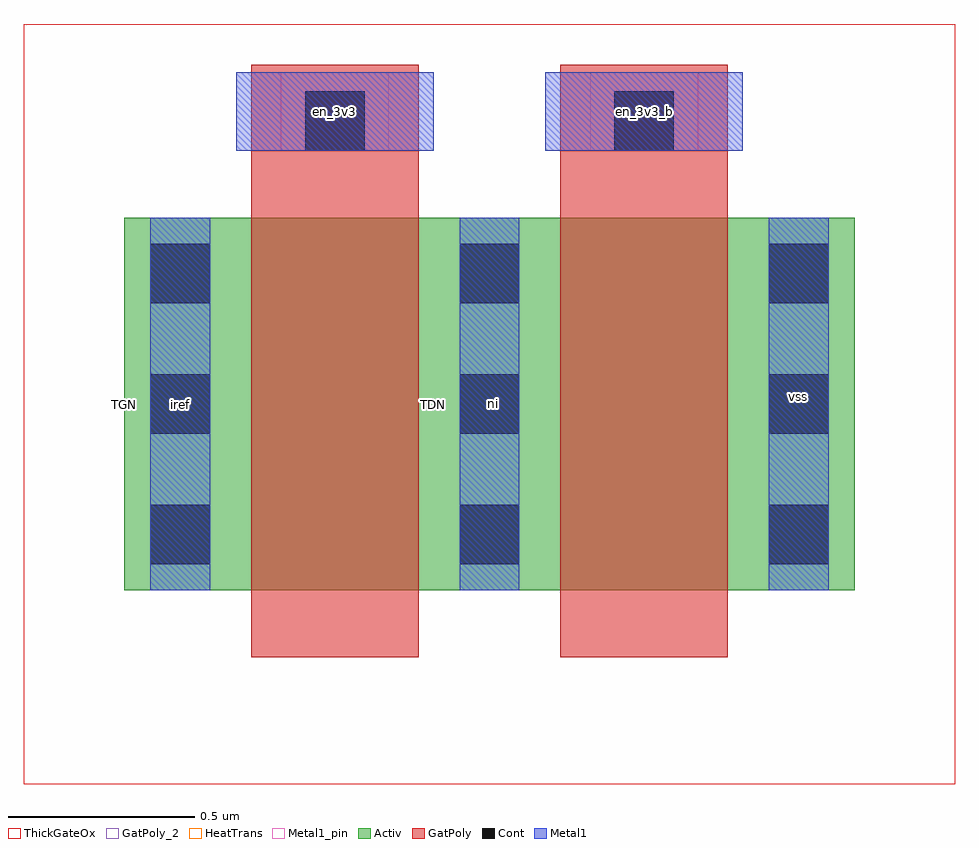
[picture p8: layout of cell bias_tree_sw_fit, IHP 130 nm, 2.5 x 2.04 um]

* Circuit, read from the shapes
.subckt bias_tree_sw_fit en_3v3 en_3v3_b iref ni vss
XM1 ni en_3v3 iref VSUBS sg13_hv_nmos w=1u l=0.45u
XM2 vss en_3v3_b ni VSUBS sg13_hv_nmos w=1u l=0.45u
.ends

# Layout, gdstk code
import gdstk
lib = gdstk.Library(unit=1e-6, precision=1e-09)
def R(c, l, rs):  # rectangles x0, y0, x1, y1
    for r in rs: c.add(gdstk.rectangle(r[:2], r[2:], *l))
def A(c, l, x, y, w, h, nx, ny, dx, dy):  # array of equal rectangles
    R(c, l, [(x+i*dx, y+j*dy, x+i*dx+w, y+j*dy+h) for i in range(nx) for j in range(ny)])
Activ = (1, 0)
GatPoly = (5, 0)
GatPoly_2 = (5, 2)
Cont = (6, 0)
Metal1 = (8, 0)
Metal1_pin = (8, 2)
ThickGateOx = (44, 0)
HeatTrans = (51, 0)

nmoshv_5_1 = lib.new_cell('nmosHV$5$1')
R(nmoshv_5_1, Activ, [(0,0,0.3,0.3), (0,0,1.13,1), (0.83,0,1.13,0.3)])
R(nmoshv_5_1, GatPoly, [(0.34,-0.18,0.79,1.18)])
R(nmoshv_5_1, GatPoly_2, [(0.34,-0.18,0.79,1.18)])
A(nmoshv_5_1, Cont, 0.07, 0.07, 0.16, 0.16, 1, 3, 0, 0.35)
A(nmoshv_5_1, Cont, 0.9, 0.07, 0.16, 0.16, 1, 3, 0, 0.35)
R(nmoshv_5_1, Metal1, [(0.07,0,0.23,1), (0.9,0,1.06,1)])
R(nmoshv_5_1, Metal1_pin, [(0.07,0,0.23,1), (0.9,0,1.06,1)])
R(nmoshv_5_1, ThickGateOx, [(-0.27,-0.52,1.4,1.52)])
R(nmoshv_5_1, HeatTrans, [(0.34,-0.18,0.79,1.18)])
nmoshv_5_1.add(gdstk.Label('nmosHV', (0.565,0.5), layer=63, texttype=0))
nmoshv_5_1.add(gdstk.Label('nmosHV', (0.565,0.5), layer=51, texttype=0))

bias_tree_sw_fit = lib.new_cell('bias_tree_sw_fit')
R(bias_tree_sw_fit, GatPoly, [(0.34,1.18,0.79,1.41), (1.17,1.18,1.62,1.41)])
R(bias_tree_sw_fit, Cont, [(0.485,1.18,0.645,1.34), (1.315,1.18,1.475,1.34)])
R(bias_tree_sw_fit, Metal1, [(0.3,1.18,0.83,1.39), (1.13,1.18,1.66,1.39)])
A(bias_tree_sw_fit, Metal1_pin, 0.07, 0.25, 0.16, 0.5, 3, 1, 0.83, 0)
R(bias_tree_sw_fit, Metal1_pin, [(0.42,1.18,0.71,1.39), (1.25,1.18,1.54,1.39)])
r = gdstk.Reference(nmoshv_5_1, (0,0)); r.repetition = gdstk.Repetition(2, 1, v1=(0.83,0), v2=(0,0)); bias_tree_sw_fit.add(r)
bias_tree_sw_fit.add(gdstk.Label('TDN', (0.83,0.5), layer=63, texttype=0))
bias_tree_sw_fit.add(gdstk.Label('TGN', (0,0.5), layer=63, texttype=0))
bias_tree_sw_fit.add(gdstk.Label('en_3v3', (0.565,1.285), layer=8, texttype=25))
bias_tree_sw_fit.add(gdstk.Label('en_3v3_b', (1.395,1.285), layer=8, texttype=25))
bias_tree_sw_fit.add(gdstk.Label('vss', (1.81,0.52), layer=8, texttype=25))
bias_tree_sw_fit.add(gdstk.Label('ni', (0.992,0.502), layer=8, texttype=25))
bias_tree_sw_fit.add(gdstk.Label('iref', (0.15,0.5), layer=8, texttype=25))

lib.write_gds('bias_tree_sw_fit.gds')
